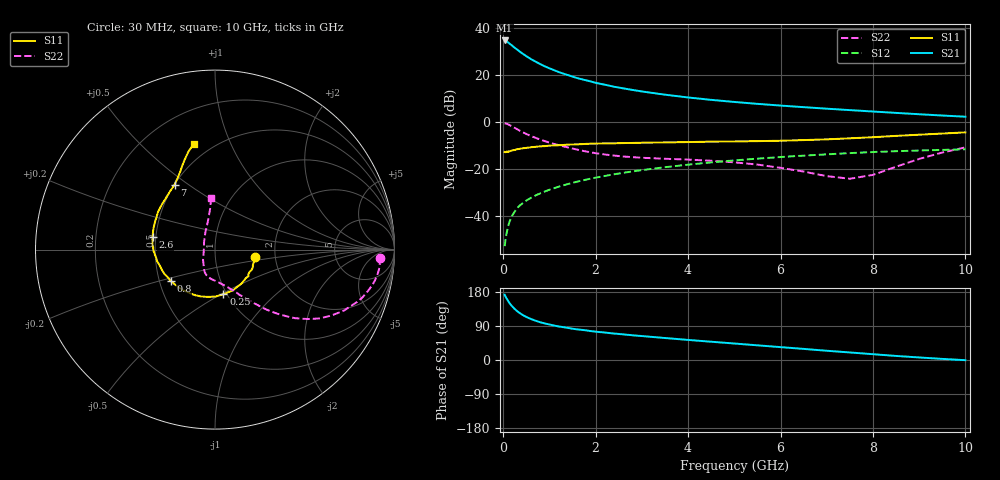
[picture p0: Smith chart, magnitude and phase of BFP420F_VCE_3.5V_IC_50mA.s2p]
! Infineon Technologies  Discrete & RF Semiconductors
! BFP420F
! VCE =  3.5 V,  IC =  50 mA
! Common Emitter S-Parameters:  Sep 2011
# GHz  S  MA  R  50
!  f  S11  S21  S12  S22
! GHz  MAG  ANG  MAG  ANG  MAG  ANG  MAG  ANG
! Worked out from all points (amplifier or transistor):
!   54 points, 30 MHz to 10 GHz, reference 50 ohm
!   highest |S21| = 34.6 dB at 30 MHz (marker M1)
!   |S21| within 3 dB of that: start of sweep to 242.9 MHz
!   unconditionally stable (mu >= 1): 1.296 GHz to end of sweep
!   at 120 MHz: K = 0.42, MSG = 38.4 dB, |S12| = -43.3 dB
!   at 1.3 GHz: K = 1.00, MAG = 23.5 dB, |S12| = -26.9 dB
!   at 10 GHz: K = 1.21, MAG = 4.1 dB, |S12| = -11.6 dB
!   S11 on the Smith chart (normalised r, x): 30 MHz: 1.57, -0.14; 250 MHz: 0.96, -0.51; 800 MHz: 0.57, -0.22; 2.6 GHz: 0.48, +0.08; 7 GHz: 0.50, +0.44; 10 GHz: 0.40, +0.73
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0.03  0.2292 -10.5  53.47 172.1  0.0023 88.9  0.9201 -2.8
0.04  0.2271 -13.8  53.14 169.7  0.0026 88.5  0.9215 -4.5
0.05  0.2276 -16.8  52.2 167.2  0.0032 86.4  0.9213 -6.3
0.07  0.2325 -25.3  51.35 163.1  0.0042 85.5  0.9128 -9.6
0.1  0.2311 -36.5  49.23 156.7  0.0056 80.5  0.8907 -13.9
0.12  0.2338 -43.2  47.53 152.9  0.0068 82.0  0.8727 -16.6
0.15  0.2398 -52.0  44.92 147.9  0.0082 78.7  0.8439 -20.2
0.2  0.2479 -66.2  41.02 140.7  0.0105 76.3  0.7942 -25.4
0.25  0.2533 -79.3  37.36 134.4  0.0125 74.2  0.744 -29.6
0.35  0.2669 -99.2  31.46 124.5  0.0165 71.9  0.6565 -36.1
0.45  0.277 -113.5  26.8 116.8  0.0198 70.5  0.5855 -40.7
0.6  0.2892 -129.9  21.5 108.2  0.0244 69.5  0.5 -45.7
0.8  0.3024 -144.8  16.86 99.6  0.0303 69.1  0.4213 -50.5
1  0.3127 -154.6  13.71 93.7  0.0363 69.0  0.3639 -54.4
1.2  0.3193 -162.7  11.43 88.5  0.0421 68.7  0.3205 -58.1
1.7  0.3368 -176.1  8.022 79.5  0.0567 67.5  0.2452 -66.7
2.6  0.3548 168.6  5.138 67.6  0.0829 63.8  0.1839 -83.7
3.5  0.3666 157.0  3.776 58.0  0.1091 59.1  0.1648 -97.4
5.5  0.3902 138.1  2.413 38.7  0.1658 46.5  0.1241 -120.1
7  0.4255 122.0  1.905 24.4  0.2045 36.4  0.0705 -155.4
8.5  0.5042 111.1  1.551 10.7  0.2385 25.5  0.1118 118.4
10  0.5987 101.5  1.287 -0.5  0.262 16.0  0.2874 94.2
